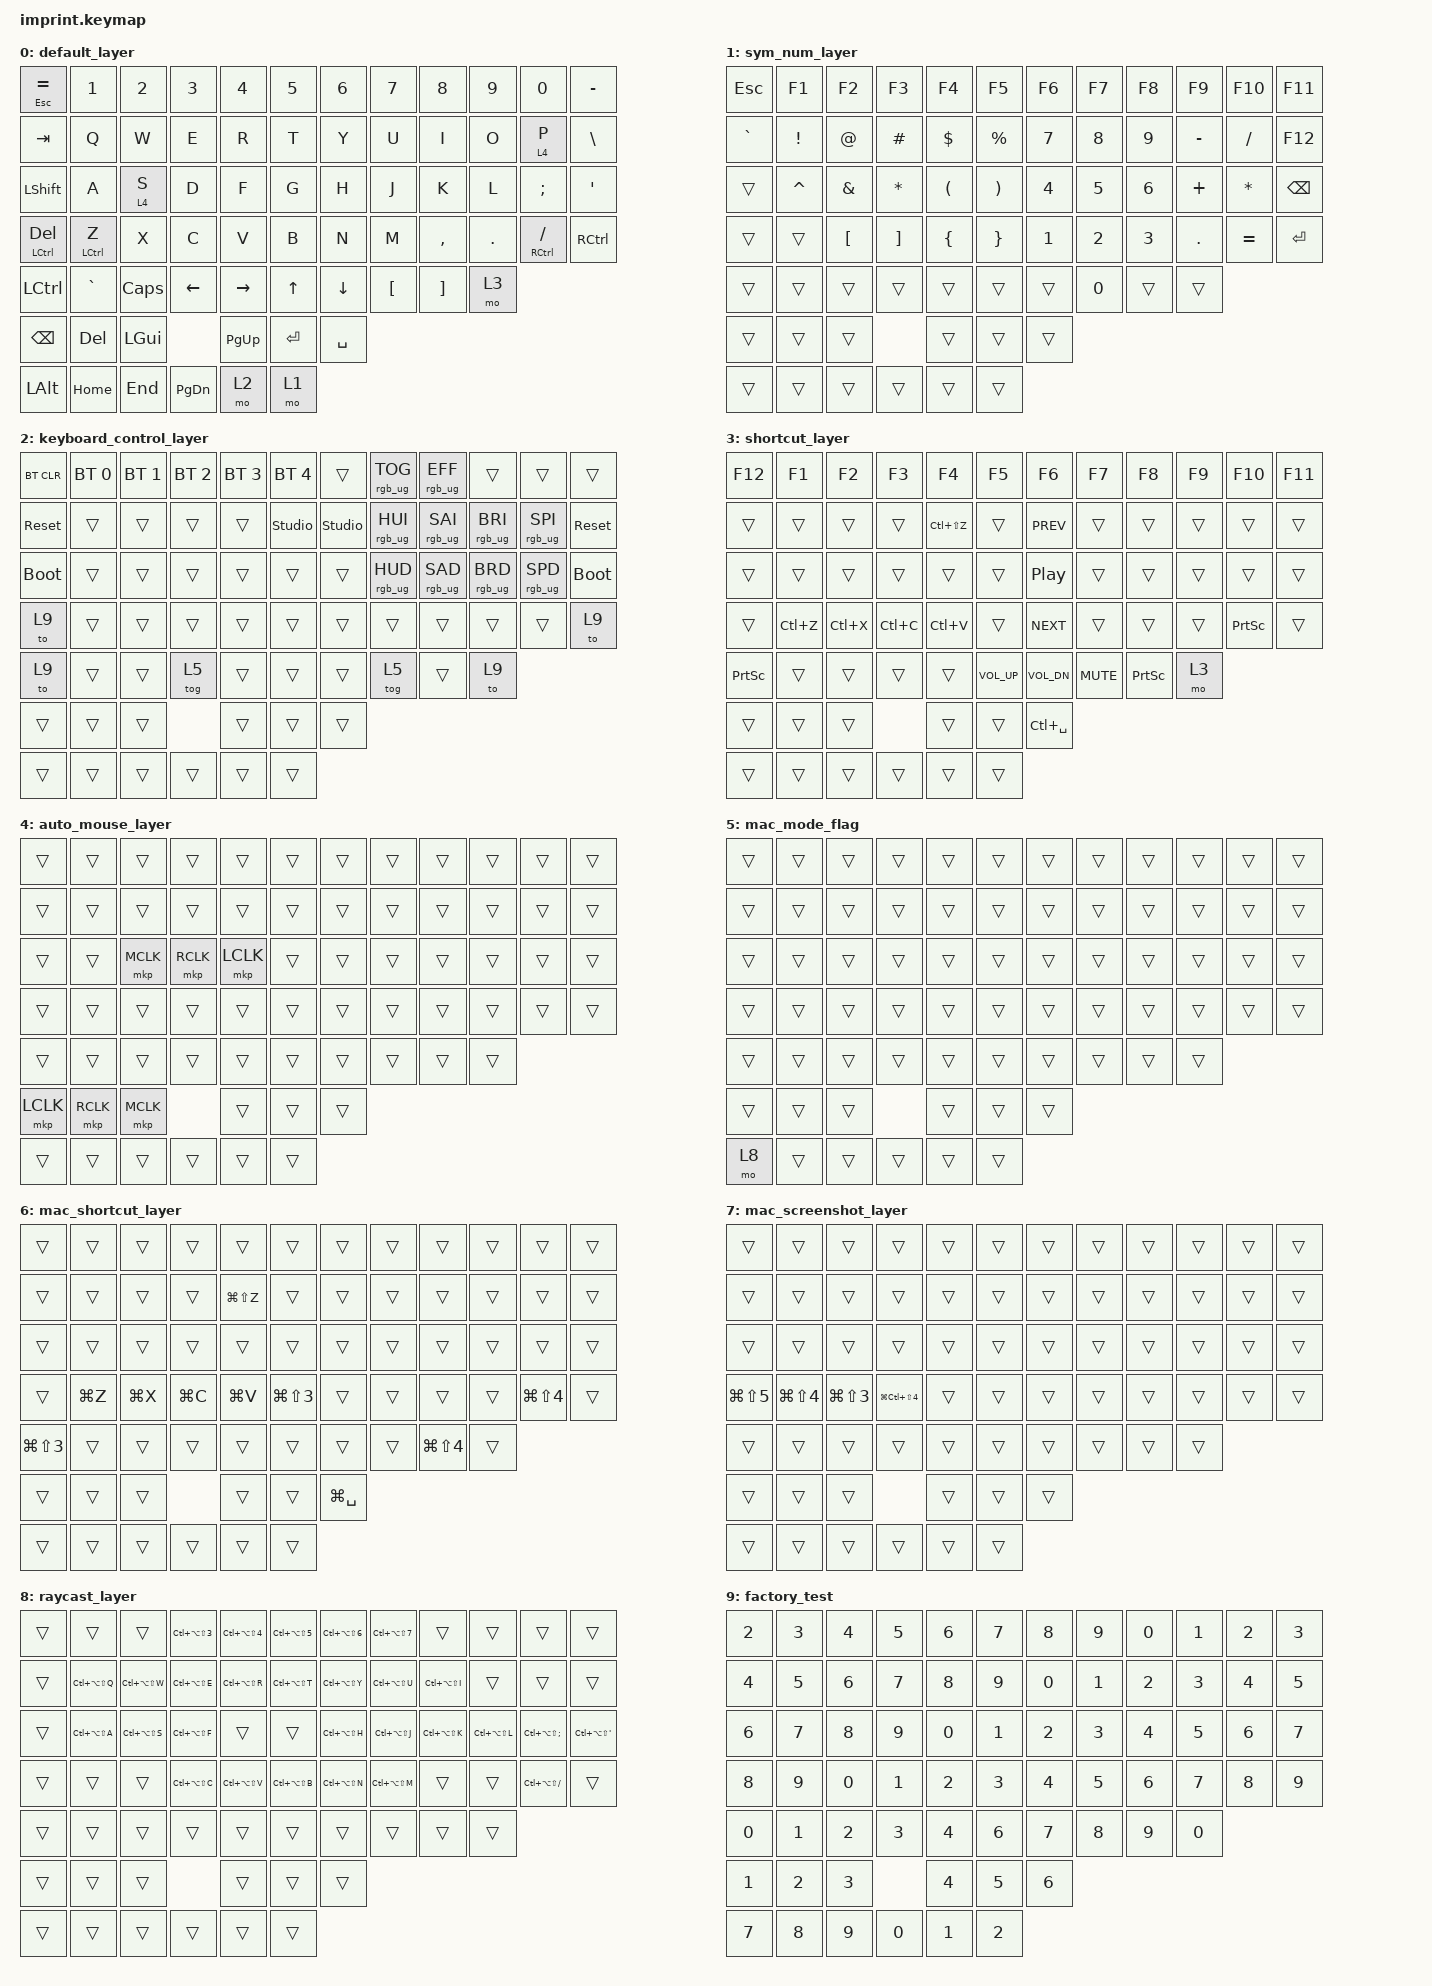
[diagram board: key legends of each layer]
#include <input/processors.dtsi>
#include <dt-bindings/zmk/input_transform.h>
#include <behaviors.dtsi>
#include <dt-bindings/zmk/bt.h>
#include <dt-bindings/zmk/keys.h>
#include <dt-bindings/zmk/pointing.h>
#include <dt-bindings/zmk/rgb.h>

/ {
    behaviors {
        ht_eq_esc: hold_tap_equal_escape {
            compatible = "zmk,behavior-hold-tap";
            #binding-cells = <2>;
            flavor = "balanced";
            tapping-term-ms = <200>;
            quick-tap-ms = <150>;
            bindings = <&kp>, <&kp>;
        };
    };

    conditional_layers {
        compatible = "zmk,conditional-layers";
        // Layer 3 (shortcuts) + Layer 5 (mac flag) → Layer 6 (mac shortcuts)
        mac_mode_shortcuts {
            if-layers = <3 5>;
            then-layer = <6>;
        };
    };

    chosen { zmk,matrix-transform = &imprint_number_row_full_bottom_row; };

    keymap {
        compatible = "zmk,keymap";

        default_layer {
            bindings = <
&ht_eq_esc ESC EQUAL  &kp N1  &kp N2  &kp N3  &kp N4  &kp N5  &kp N6  &kp N7  &kp N8  &kp N9  &kp N0  &kp MINUS
&kp TAB  &kp Q  &kp W  &kp E  &kp R  &kp T  &kp Y  &kp U  &kp I  &kp O  &lt 4 P  &kp BSLH
&kp LSHFT  &kp A  &lt 4 S  &kp D  &kp F  &kp G  &kp H  &kp J  &kp K  &kp L  &kp SEMI  &kp SQT
&mt LCTRL DEL  &mt LCTRL Z  &kp X  &kp C  &kp V  &kp B  &kp N  &kp M  &kp COMMA  &kp DOT  &mt RCTRL FSLH  &kp RCTRL
&kp LCTRL  &kp GRAVE  &kp CAPS  &kp LEFT  &kp RIGHT  &kp UP  &kp DOWN  &kp LBKT  &kp RBKT  &mo 3
&kp BSPC  &kp DEL  &kp LGUI  &kp PG_UP  &kp RET  &kp SPACE
&kp LALT  &kp HOME  &kp END  &kp PG_DN  &mo 2  &mo 1
            >;
        };

        sym_num_layer {
            bindings = <
&kp ESC  &kp F1  &kp F2  &kp F3  &kp F4  &kp F5  &kp F6  &kp F7  &kp F8  &kp F9  &kp F10  &kp F11
&kp GRAVE  &kp EXCL  &kp AT  &kp HASH  &kp DLLR  &kp PRCNT  &kp N7  &kp N8  &kp N9  &kp MINUS  &kp FSLH  &kp F12
&trans  &kp CARET  &kp AMPS  &kp ASTRK  &kp LPAR  &kp RPAR  &kp N4  &kp N5  &kp N6  &kp PLUS  &kp ASTRK  &kp BSPC
&trans  &trans  &kp LBKT  &kp RBKT  &kp LBRC  &kp RBRC  &kp N1  &kp N2  &kp N3  &kp DOT  &kp EQUAL  &kp RET
&trans  &trans  &trans  &trans  &trans  &trans  &trans  &kp N0  &trans  &trans
&trans  &trans  &trans  &trans  &trans  &trans
&trans  &trans  &trans  &trans  &trans  &trans
            >;
        };

        keyboard_control_layer {
            bindings = <
&bt BT_CLR  &bt BT_SEL 0  &bt BT_SEL 1  &bt BT_SEL 2  &bt BT_SEL 3  &bt BT_SEL 4  &trans  &rgb_ug RGB_TOG  &rgb_ug RGB_EFF  &trans  &trans  &trans
&sys_reset  &trans  &trans  &trans  &trans  &studio_unlock  &studio_unlock  &rgb_ug RGB_HUI  &rgb_ug RGB_SAI  &rgb_ug RGB_BRI  &rgb_ug RGB_SPI  &sys_reset
&bootloader  &trans  &trans  &trans  &trans  &trans  &trans  &rgb_ug RGB_HUD  &rgb_ug RGB_SAD  &rgb_ug RGB_BRD  &rgb_ug RGB_SPD  &bootloader
&to 9  &trans  &trans  &trans  &trans  &trans  &trans  &trans  &trans  &trans  &trans  &to 9
&to 9  &trans  &trans  &tog 5  &trans  &trans  &trans  &tog 5  &trans  &to 9
&trans  &trans  &trans  &trans  &trans  &trans
&trans  &trans  &trans  &trans  &trans  &trans
            >;
        };

        shortcut_layer {
            bindings = <
&kp F12  &kp F1  &kp F2  &kp F3  &kp F4  &kp F5  &kp F6  &kp F7  &kp F8  &kp F9  &kp F10  &kp F11
&trans  &trans  &trans  &trans  &kp LC(LS(Z))  &trans  &kp C_PREV  &trans  &trans  &trans  &trans  &trans
&trans  &trans  &trans  &trans  &trans  &trans  &kp C_PP  &trans  &trans  &trans  &trans  &trans
&trans  &kp LC(Z)  &kp LC(X)  &kp LC(C)  &kp LC(V)  &trans  &kp C_NEXT  &trans  &trans  &trans  &kp PSCRN  &trans
&kp PSCRN  &trans  &trans  &trans  &trans  &kp C_VOL_UP  &kp C_VOL_DN  &kp C_MUTE  &kp PSCRN  &mo 3
&trans  &trans  &trans  &trans  &trans  &kp LC(SPACE)
&trans  &trans  &trans  &trans  &trans  &trans
            >;
        };

        auto_mouse_layer {
            bindings = <
&trans  &trans  &trans  &trans  &trans  &trans  &trans  &trans  &trans  &trans  &trans  &trans
&trans  &trans  &trans  &trans  &trans  &trans  &trans  &trans  &trans  &trans  &trans  &trans
&trans  &trans  &mkp MCLK  &mkp RCLK  &mkp LCLK  &trans  &trans  &trans  &trans  &trans  &trans  &trans
&trans  &trans  &trans  &trans  &trans  &trans  &trans  &trans  &trans  &trans  &trans  &trans
&trans  &trans  &trans  &trans  &trans  &trans  &trans  &trans  &trans  &trans
&mkp LCLK  &mkp RCLK  &mkp MCLK  &trans  &trans  &trans
&trans  &trans  &trans  &trans  &trans  &trans
            >;
        };

        mac_mode_flag {
            bindings = <
&trans  &trans  &trans  &trans  &trans  &trans  &trans  &trans  &trans  &trans  &trans  &trans
&trans  &trans  &trans  &trans  &trans  &trans  &trans  &trans  &trans  &trans  &trans  &trans
&trans  &trans  &trans  &trans  &trans  &trans  &trans  &trans  &trans  &trans  &trans  &trans
&trans  &trans  &trans  &trans  &trans  &trans  &trans  &trans  &trans  &trans  &trans  &trans
&trans  &trans  &trans  &trans  &trans  &trans  &trans  &trans  &trans  &trans
&trans  &trans  &trans  &trans  &trans  &trans
&mo 8  &trans  &trans  &trans  &trans  &trans
            >;
        };

        mac_shortcut_layer {
            bindings = <
&trans  &trans  &trans  &trans  &trans  &trans  &trans  &trans  &trans  &trans  &trans  &trans
&trans  &trans  &trans  &trans  &kp LG(LS(Z))  &trans  &trans  &trans  &trans  &trans  &trans  &trans
&trans  &trans  &trans  &trans  &trans  &trans  &trans  &trans  &trans  &trans  &trans  &trans
&trans  &kp LG(Z)  &kp LG(X)  &kp LG(C)  &kp LG(V)  &kp LG(LS(N3))  &trans  &trans  &trans  &trans  &kp LG(LS(N4))  &trans
&kp LG(LS(N3))  &trans  &trans  &trans  &trans  &trans  &trans  &trans  &kp LG(LS(N4))  &trans
&trans  &trans  &trans  &trans  &trans  &kp LG(SPACE)
&trans  &trans  &trans  &trans  &trans  &trans
            >;
        };

        mac_screenshot_layer {
            bindings = <
&trans  &trans  &trans  &trans  &trans  &trans  &trans  &trans  &trans  &trans  &trans  &trans
&trans  &trans  &trans  &trans  &trans  &trans  &trans  &trans  &trans  &trans  &trans  &trans
&trans  &trans  &trans  &trans  &trans  &trans  &trans  &trans  &trans  &trans  &trans  &trans
&kp LG(LS(N5))  &kp LG(LS(N4))  &kp LG(LS(N3))  &kp LG(LC(LS(N4)))  &trans  &trans  &trans  &trans  &trans  &trans  &trans  &trans
&trans  &trans  &trans  &trans  &trans  &trans  &trans  &trans  &trans  &trans
&trans  &trans  &trans  &trans  &trans  &trans
&trans  &trans  &trans  &trans  &trans  &trans
            >;
        };

        raycast_layer {
            bindings = <
&trans  &trans  &trans  &kp LC(LA(LS(N3)))  &kp LC(LA(LS(N4)))  &kp LC(LA(LS(N5)))  &kp LC(LA(LS(N6)))  &kp LC(LA(LS(N7)))  &trans  &trans  &trans  &trans
&trans  &kp LC(LA(LS(Q)))  &kp LC(LA(LS(W)))  &kp LC(LA(LS(E)))  &kp LC(LA(LS(R)))  &kp LC(LA(LS(T)))  &kp LC(LA(LS(Y)))  &kp LC(LA(LS(U)))  &kp LC(LA(LS(I)))  &trans  &trans  &trans
&trans  &kp LC(LA(LS(A)))  &kp LC(LA(LS(S)))  &kp LC(LA(LS(F)))  &trans  &trans  &kp LC(LA(LS(H)))  &kp LC(LA(LS(J)))  &kp LC(LA(LS(K)))  &kp LC(LA(LS(L)))  &kp LC(LA(LS(SEMI)))  &kp LC(LA(LS(SQT)))
&trans  &trans  &trans  &kp LC(LA(LS(C)))  &kp LC(LA(LS(V)))  &kp LC(LA(LS(B)))  &kp LC(LA(LS(N)))  &kp LC(LA(LS(M)))  &trans  &trans  &kp LC(LA(LS(FSLH)))  &trans
&trans  &trans  &trans  &trans  &trans  &trans  &trans  &trans  &trans  &trans
&trans  &trans  &trans  &trans  &trans  &trans
&trans  &trans  &trans  &trans  &trans  &trans
            >;
        };

        factory_test {
            bindings = <
&kp N2  &kp N3  &kp N4  &kp N5  &kp N6  &kp N7  &kp N8  &kp N9  &kp N0  &kp N1  &kp N2  &kp N3
&kp N4  &kp N5  &kp N6  &kp N7  &kp N8  &kp N9  &kp N0  &kp N1  &kp N2  &kp N3  &kp N4  &kp N5
&kp N6  &kp N7  &kp N8  &kp N9  &kp N0  &kp N1  &kp N2  &kp N3  &kp N4  &kp N5  &kp N6  &kp N7
&kp N8  &kp N9  &kp N0  &kp N1  &kp N2  &kp N3  &kp N4  &kp N5  &kp N6  &kp N7  &kp N8  &kp N9
&kp N0  &kp N1  &kp N2  &kp N3  &kp N4  &kp N6  &kp N7  &kp N8  &kp N9  &kp N0
&kp N1  &kp N2  &kp N3  &kp N4  &kp N5  &kp N6
&kp N7  &kp N8  &kp N9  &kp N0  &kp N1  &kp N2
            >;
        };
    };
};

// right hand trackball — cursor movement, auto-activates Layer 4 (mouse) on movement
&trackball_peripheral_listener {
    input-processors =
        <&zip_temp_layer 4 500>;
};

// left hand trackball — scroll mode
&trackball_central_listener {
    input-processors =
        <&zip_xy_scaler 1 3>,
        <&zip_xy_to_scroll_mapper>,
        <&zip_scroll_transform INPUT_TRANSFORM_Y_INVERT>;
};
